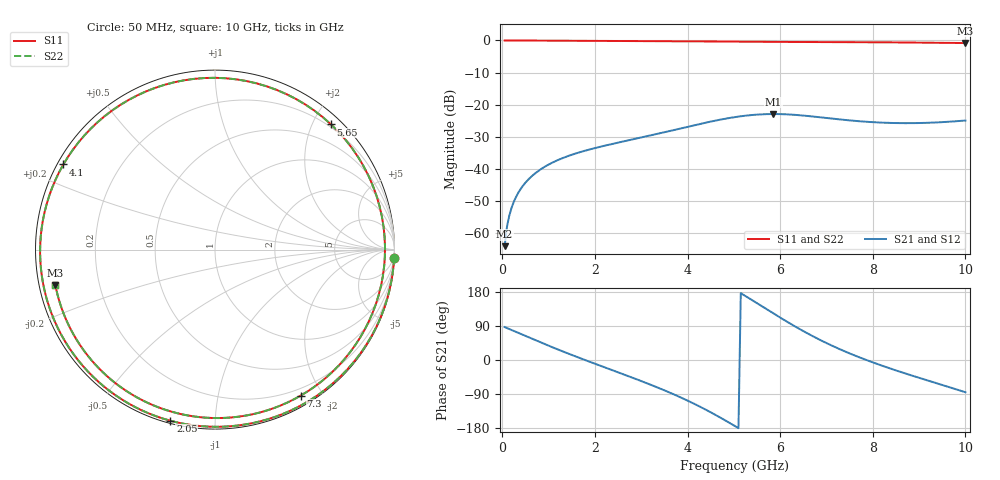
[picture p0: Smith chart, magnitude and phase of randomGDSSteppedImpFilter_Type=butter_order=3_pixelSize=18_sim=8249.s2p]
! freq	dB(S11)	phase(S11)	dB(S12)	phase(S12)
!  dB(S21)	phase(S21)	dB(S22)	phase(S22)
!S-par simulation data
#  GHz  S  DB  R 50
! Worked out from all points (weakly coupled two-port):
!   200 points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, 50 MHz to 10 GHz, reference 50 ohm
!   highest |S21| = -22.94 dB at 5.85 GHz (marker M1); lowest = -64.1 dB at 50 MHz (marker M2)
!   lowest |S11| = -0.8 dB at 10 GHz (marker M3), VSWR 21.50, Z = 2.35 - j5.52 ohm
!   |S11| at or under -10 dB: nowhere
!   |S22| runs from -0.8 to 0.0 dB; largest |S21 - S12| = 0
!   S11 on the Smith chart (normalised r, x): 50 MHz: 0, -42; 2.05 GHz: 0.01, -0.77; 4.1 GHz: 0.02, +0.26; 5.65 GHz: 0.16, +2.28; 7.3 GHz: 0.12, -1.74; 10 GHz: 0.05, -0.11
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0.05  -0.00 -2.7  -64.12 86.9  -64.12 86.9  -0.00 -2.7
0.1  -0.01 -5.4  -58.15 84.3  -58.15 84.3  -0.01 -5.4
0.2  -0.02 -10.6  -52.16 79.1  -52.16 79.1  -0.02 -10.7
0.5  -0.03 -26.5  -44.33 63.3  -44.33 63.3  -0.03 -26.5
1.15  -0.07 -60.0  -37.61 30.2  -37.61 30.2  -0.07 -60.1
1.75  -0.11 -90.0  -34.52 1.6  -34.52 1.6  -0.11 -90.0
2.05  -0.13 -104.6  -33.37 -12.1  -33.37 -12.1  -0.13 -104.6
2.8  -0.17 -141.0  -30.89 -46.2  -30.89 -46.2  -0.17 -141.1
3.4  -0.21 -171.1  -28.95 -74.9  -28.95 -74.9  -0.21 -171.2
4.1  -0.27 150.7  -26.59 -113.0  -26.59 -113.0  -0.27 150.6
4.6  -0.33 120.2  -24.99 -144.6  -24.99 -144.6  -0.33 120.1
5.05  -0.38 90.1  -23.83 -176.3  -23.83 -176.3  -0.38 90.0
5.35  -0.41 68.9  -23.30 161.4  -23.30 161.4  -0.41 68.8
5.65  -0.44 47.2  -23.00 138.5  -23.00 138.5  -0.44 47.1
5.85  -0.45 32.7  -22.94 123.3  -22.94 123.3  -0.45 32.7
6.25  -0.47 4.5  -23.13 93.7  -23.13 93.7  -0.47 4.5
6.7  -0.48 -25.1  -23.69 63.1  -23.69 63.1  -0.48 -25.0
7.3  -0.51 -59.5  -24.63 27.8  -24.63 27.8  -0.51 -59.5
7.8  -0.54 -84.2  -25.28 2.8  -25.28 2.8  -0.54 -84.1
8.35  -0.59 -107.9  -25.70 -21.3  -25.70 -21.3  -0.59 -107.8
9.2  -0.70 -139.8  -25.66 -54.6  -25.66 -54.6  -0.70 -139.8
10  -0.81 -167.4  -24.97 -85.0  -24.97 -85.0  -0.81 -167.3
